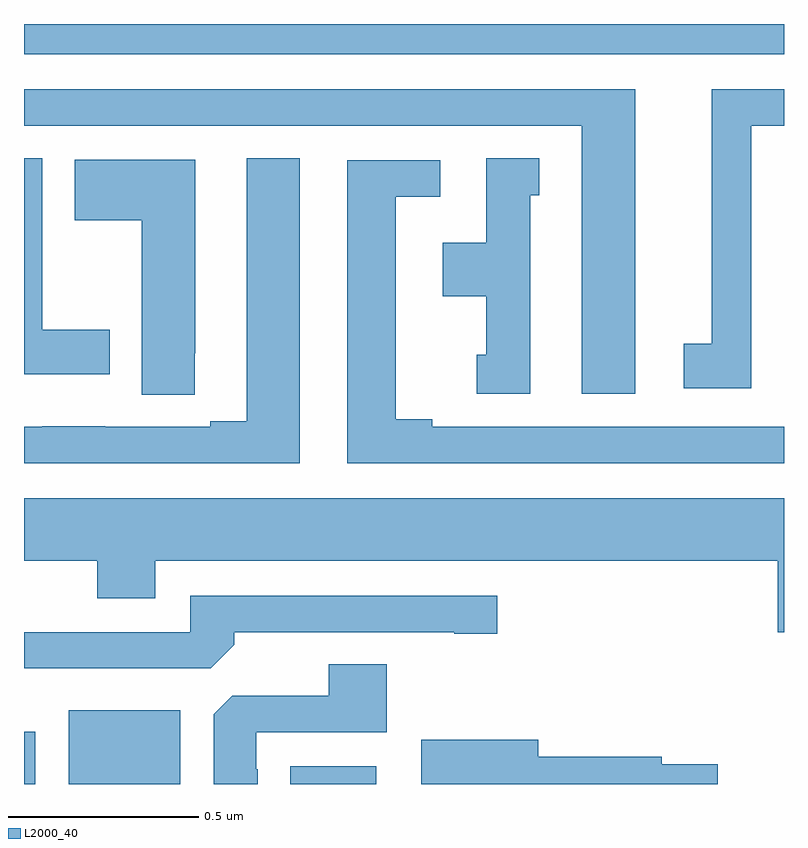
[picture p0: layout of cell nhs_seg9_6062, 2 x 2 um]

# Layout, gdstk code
import gdstk
lib = gdstk.Library(unit=1e-6, precision=1e-09)
def R(c, l, rs):  # rectangles x0, y0, x1, y1
    for r in rs: c.add(gdstk.rectangle(r[:2], r[2:], *l))
def P(c, l, *ps):  # polygons
    for p in ps: c.add(gdstk.Polygon(p, *l))
L2000_40 = (2000, 40)

nhs_seg9_6062 = lib.new_cell('nhs_seg9_6062')
R(nhs_seg9_6062, L2000_40, [(187,1194.5,187.03,1194.637), (187.118,1194.5,187.411,1194.694), (187.7,1194.5,187.927,1194.547), (187,1196.42,189,1196.5)])
P(nhs_seg9_6062, L2000_40, [(188.914,1196.232),(189,1196.232),(189,1196.328),(188.81,1196.328),(188.81,1195.658),(188.736,1195.658),(188.736,1195.542),(188.914,1195.542)],
  [(188.608,1196.328),(187,1196.328),(187,1196.232),(188.468,1196.232),(188.468,1195.527),(188.608,1195.527)],
  [(187.225,1195.695),(187.048,1195.695),(187.048,1196.147),(187,1196.147),(187,1195.578),(187.225,1195.578)],
  [(188.332,1196.049),(188.356,1196.049),(188.356,1196.147),(188.216,1196.147),(188.216,1195.924),(188.102,1195.924),(188.102,1195.784),(188.216,1195.784),(188.216,1195.629),(188.192,1195.629),(188.192,1195.527),(188.332,1195.527)],
  [(187.726,1196.147),(187.586,1196.147),(187.586,1195.455),(187.49,1195.455),(187.49,1195.44),(187.214,1195.44),(187.214,1195.441),(187.048,1195.441),(187.048,1195.44),(187,1195.44),(187,1195.344),(187.726,1195.344)],
  [(187.449,1195.633),(187.45,1195.633),(187.45,1196.143),(187.133,1196.143),(187.133,1195.984),(187.31,1195.984),(187.31,1195.525),(187.449,1195.525)],
  [(189,1195.44),(188.074,1195.44),(188.074,1195.46),(187.978,1195.46),(187.978,1196.046),(188.095,1196.046),(188.095,1196.142),(187.85,1196.142),(187.85,1195.344),(189,1195.344)],
  [(189,1195.252),(187,1195.252),(187,1195.088),(187.193,1195.088),(187.193,1194.989),(187.345,1194.989),(187.345,1195.088),(188.984,1195.088),(188.984,1194.9),(189,1194.9)],
  [(187.553,1194.866),(187.553,1194.9),(188.132,1194.9),(188.132,1194.895),(188.245,1194.895),(188.245,1194.996),(187.437,1194.996),(187.437,1194.9),(187,1194.9),(187,1194.804),(187.491,1194.804)],
  [(187.615,1194.539),(187.611,1194.539),(187.611,1194.636),(187.955,1194.636),(187.955,1194.815),(187.802,1194.815),(187.802,1194.732),(187.548,1194.732),(187.499,1194.683),(187.499,1194.5),(187.615,1194.5)],
  [(188.825,1194.552),(188.678,1194.552),(188.678,1194.572),(188.353,1194.572),(188.353,1194.616),(188.046,1194.616),(188.046,1194.5),(188.825,1194.5)])

lib.write_gds('nhs_seg9_6062.gds')
